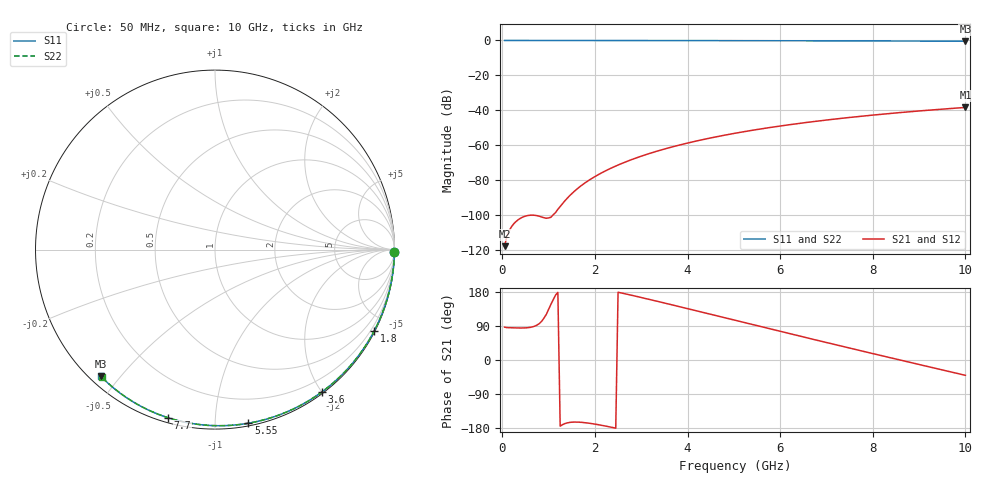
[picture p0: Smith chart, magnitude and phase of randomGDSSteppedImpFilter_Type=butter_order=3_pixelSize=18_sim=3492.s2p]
! freq	dB(S11)	phase(S11)	dB(S12)	phase(S12)
!  dB(S21)	phase(S21)	dB(S22)	phase(S22)
!S-par simulation data
#  GHz  S  DB  R 50
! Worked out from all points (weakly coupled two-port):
!   200 points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, 50 MHz to 10 GHz, reference 50 ohm
!   highest |S21| = -38.38 dB at 10 GHz (marker M1); lowest = -117.9 dB at 50 MHz (marker M2)
!   lowest |S11| = -0.4 dB at 10 GHz (marker M3), VSWR 39.08, Z = 1.53 - j22.2 ohm
!   |S11| at or under -10 dB: nowhere
!   |S22| runs from -0.4 to 0.0 dB; largest |S21 - S12| = 0
!   S11 on the Smith chart (normalised r, x): 50 MHz: open; 1.8 GHz: 0.04, -4.15; 3.6 GHz: 0.02, -2.01; 5.55 GHz: 0.02, -1.21; 7.7 GHz: 0.02, -0.76; 10 GHz: 0.03, -0.44
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0.05  -0.00 -0.8  -117.86 86.6  -117.86 86.6  -0.00 -0.8
0.9  -0.02 -13.7  -101.57 110.6  -101.57 110.6  -0.02 -13.6
1.75  -0.03 -26.3  -82.29 -165.0  -82.29 -165.0  -0.03 -26.2
1.8  -0.03 -27.1  -81.35 -165.6  -81.35 -165.6  -0.03 -27.0
1.85  -0.04 -27.8  -80.46 -166.4  -80.46 -166.4  -0.04 -27.7
1.9  -0.04 -28.6  -79.60 -167.2  -79.60 -167.2  -0.04 -28.4
2.05  -0.04 -30.8  -77.22 -170.2  -77.22 -170.2  -0.04 -30.6
2.25  -0.04 -33.7  -74.41 -174.8  -74.41 -174.8  -0.04 -33.5
2.45  -0.05 -36.6  -71.94 -179.9  -71.94 -179.9  -0.05 -36.4
2.65  -0.05 -39.5  -69.71 174.8  -69.71 174.8  -0.05 -39.3
3  -0.06 -44.5  -66.30 165.0  -66.30 165.0  -0.06 -44.3
3.4  -0.07 -50.2  -62.97 153.4  -62.97 153.4  -0.07 -49.9
3.6  -0.07 -53.0  -61.48 147.5  -61.48 147.5  -0.07 -52.7
4.3  -0.09 -62.6  -56.97 126.6  -56.97 126.6  -0.09 -62.3
5.05  -0.11 -72.6  -53.05 104.1  -53.05 104.1  -0.11 -72.2
5.55  -0.13 -79.1  -50.82 89.1  -50.82 89.1  -0.13 -78.7
6.1  -0.15 -86.1  -48.64 72.7  -48.64 72.7  -0.15 -85.7
6.7  -0.18 -93.5  -46.54 54.9  -46.54 54.9  -0.18 -93.1
7.7  -0.24 -105.6  -43.56 25.6  -43.56 25.6  -0.24 -105.1
8.35  -0.29 -113.2  -41.89 6.8  -41.89 6.8  -0.29 -112.7
9.15  -0.36 -122.4  -40.07 -16.2  -40.07 -16.2  -0.36 -121.9
10  -0.44 -132.1  -38.38 -40.4  -38.38 -40.4  -0.45 -131.5
